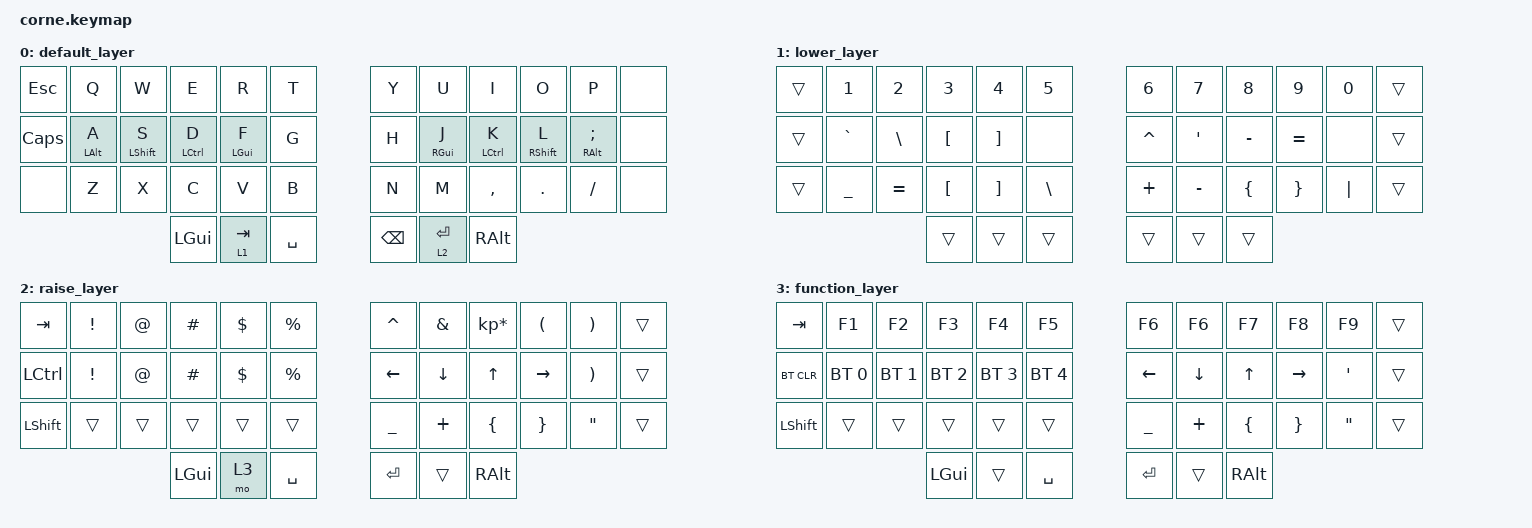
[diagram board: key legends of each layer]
/*
 * Copyright (c) 2020 The ZMK Contributors
 *
 * SPDX-License-Identifier: MIT
 */

#include <behaviors.dtsi>
#include <dt-bindings/zmk/keys.h>
#include <dt-bindings/zmk/bt.h>

/ {
        behaviors {
                hm: homerow_mods {
                        compatible = "zmk,behavior-hold-tap";
                        label = "HOMEROW_MODS";
                        #binding-cells = <2>;
                        tapping-term-ms = <200>;
                        quick-tap-ms = <200>;
                        flavor = "balanced";
                        bindings = <&kp>, <&kp>;
                };
        };

        keymap {
                compatible = "zmk,keymap";

                default_layer {
// -----------------------------------------------------------------------------------------
// |  TAB |  Q  |  W  |  E  |  R  |  T  |   |  Y  |  U   |  I  |  O  |  P  | BKSP |
// | CTRL |  A  |  S  |  D  |  F  |  G  |   |  H  |  J   |  K  |  L  |  ;  |  '   |
// | SHFT |  Z  |  X  |  C  |  V  |  B  |   |  N  |  M   |  ,  |  .  |  /  | ESC  |
//                    | GUI | LWR | SPC |   | ENT | RSE  | ALT |
                        bindings = <
   &kp ESCAPE &kp Q          &kp W            &kp E                      &kp R                &kp T   &kp Y &kp U            &kp I                  &kp O               &kp P              &none
   &kp CLCK   &hm LEFT_ALT A &hm LEFT_SHIFT S &hm LEFT_CONTROL D         &hm LEFT_GUI F       &kp G   &kp H &hm RIGHT_GUI J  &hm LEFT_CONTROL K     &hm RIGHT_SHIFT L   &hm RIGHT_ALT SEMI &none
   &none      &kp Z          &kp X            &kp C                      &kp V                &kp B   &kp N &kp M            &kp COMMA              &kp DOT             &kp FSLH           &none
                  &kp LGUI &lt 1 TAB &kp SPACE   &kp BACKSPACE &lt 2 ENTER &kp RALT
                        >;
                };
                lower_layer {
// -----------------------------------------------------------------------------------------
// |  TAB |  1  |  2  |  3  |  4  |  5  |   |  6  |  7  |  8  |  9  |  0  | BKSP |
// | BTCLR| BT1 | BT2 | BT3 | BT4 | BT5 |   | LFT | DWN |  UP | RGT |     |      |
// | SHFT |     |     |     |     |     |   |     |     |     |     |     |      |
//                    | GUI |     | SPC |   | ENT |     | ALT |
                        bindings = <
   &trans    &kp N1               &kp N2        &kp N3           &kp N4                &kp N5                       &kp N6    &kp N7            &kp N8             &kp N9    &kp N0   &trans
   &trans    &kp GRAVE            &kp BACKSLASH &kp LEFT_BRACKET &kp RIGHT_BRACKET     &none                        &kp CARET &kp SINGLE_QUOTE  &kp MINUS          &kp EQUAL &none    &trans
   &trans    &kp UNDERSCORE       &kp EQUAL     &kp LBKT         &kp RBKT              &kp BACKSLASH                &kp PLUS  &kp MINUS         &kp LBRC           &kp RBRC  &kp PIPE &trans
                                    &trans     &trans       &trans      &trans  &trans   &trans
                        >;
                };

                raise_layer {
// -----------------------------------------------------------------------------------------
// |  TAB |  !  |  @  |  #  |  $  |  %  |   |  ^  |  &  |  *  |  (  |  )  | BKSP |
// | CTRL |     |     |     |     |     |   |  -  |  =  |  [  |  ]  |  \  |  `   |
// | SHFT |     |     |     |     |     |   |  _  |  +  |  {  |  }  | "|" |  ~   |
//                    | GUI |     | SPC |   | ENT |     | ALT |
                        bindings = <
   &kp TAB   &kp EXCL     &kp AT       &kp HASH     &kp DLLR     &kp PRCNT     &kp CARET &kp AMPS  &kp KP_MULTIPLY &kp LPAR  &kp RPAR          &trans
   &kp LCTRL &kp EXCL     &kp AT       &kp HASH     &kp DLLR     &kp PRCNT     &kp LEFT  &kp DOWN  &kp UP          &kp RIGHT &kp RPAR          &trans
   &kp LSHFT &trans       &trans       &trans       &trans       &trans        &kp UNDER &kp PLUS  &kp LBRC        &kp RBRC  &kp DOUBLE_QUOTES &trans
                             &kp LGUI  &mo 3 &kp SPACE   &kp RET   &trans    &kp RALT
                        >;
                };

                function_layer {
// -----------------------------------------------------------------------------------------
// |  TAB |  !  |  @  |  #  |  $  |  %  |   |  ^  |  &  |  *  |  (  |  )  | BKSP |
// | CTRL |     |     |     |     |     |   |  -  |  =  |  [  |  ]  |  \  |  `   |
// | SHFT |     |     |     |     |     |   |  _  |  +  |  {  |  }  | "|" |  ~   |
//                    | GUI |     | SPC |   | ENT |     | ALT |
                        bindings = <
   &kp TAB    &kp F1       &kp F2       &kp F3       &kp F4       &kp F5        &kp F6    &kp F6    &kp F7          &kp F8    &kp F9            &trans
   &bt BT_CLR &bt BT_SEL 0 &bt BT_SEL 1 &bt BT_SEL 2 &bt BT_SEL 3 &bt BT_SEL 4  &kp LEFT  &kp DOWN  &kp UP          &kp RIGHT &kp SINGLE_QUOTE  &trans
   &kp LSHFT  &trans       &trans       &trans       &trans       &trans        &kp UNDER &kp PLUS  &kp LBRC        &kp RBRC  &kp DOUBLE_QUOTES &trans
                             &kp LGUI &trans   &kp SPACE   &kp RET   &trans    &kp RALT
                        >;
                };
        };
};

